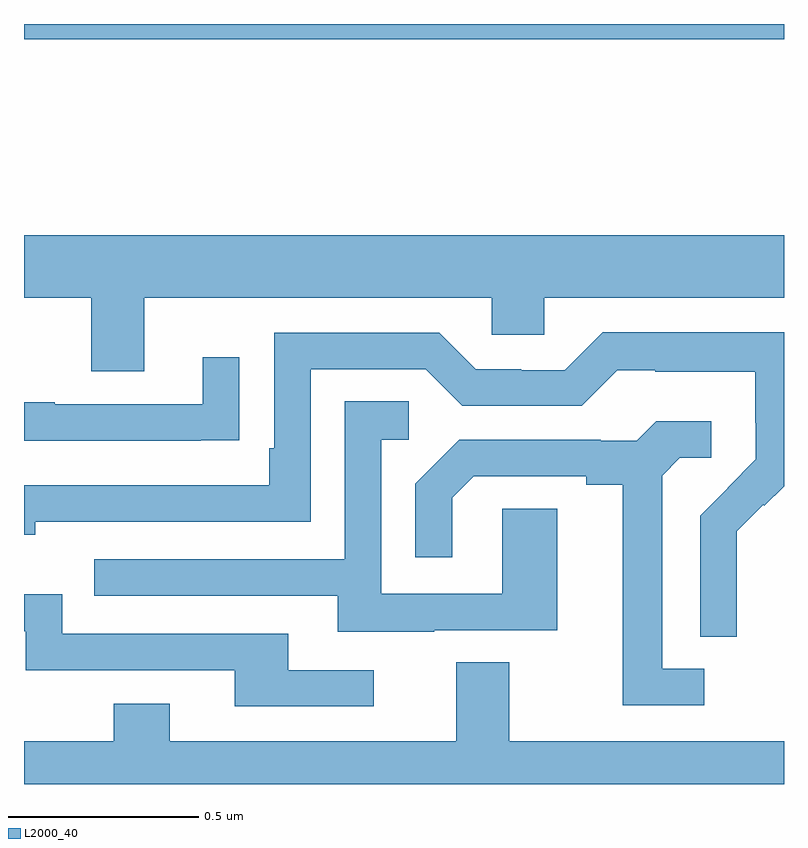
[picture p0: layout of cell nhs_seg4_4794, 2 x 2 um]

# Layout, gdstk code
import gdstk
lib = gdstk.Library(unit=1e-6, precision=1e-09)
def R(c, l, rs):  # rectangles x0, y0, x1, y1
    for r in rs: c.add(gdstk.rectangle(r[:2], r[2:], *l))
def P(c, l, *ps):  # polygons
    for p in ps: c.add(gdstk.Polygon(p, *l))
L2000_40 = (2000, 40)

nhs_seg4_4794 = lib.new_cell('nhs_seg4_4794')
R(nhs_seg4_4794, L2000_40, [(170,770.86,172,770.9)])
P(nhs_seg4_4794, L2000_40, [(170.317,770.18),(171.231,770.18),(171.231,770.082),(171.369,770.082),(171.369,770.18),(172,770.18),(172,770.344),(170,770.344),(170,770.18),(170.177,770.18),(170.177,769.986),(170.317,769.986)],
  [(171.876,769.442),(171.875,769.442),(171.875,769.565),(171.945,769.635),(171.948,769.632),(172,769.684),(172,770.089),(171.523,770.089),(171.423,769.989),(171.308,769.989),(171.308,769.992),(171.189,769.992),(171.093,770.088),(170.658,770.088),(170.658,769.783),(170.645,769.783),(170.645,769.686),(170,769.686),(170,769.556),(170.03,769.556),(170.03,769.59),(170.754,769.59),(170.754,769.992),(171.057,769.992),(171.153,769.896),(171.468,769.896),(171.561,769.989),(171.661,769.989),(171.661,769.985),(171.924,769.985),(171.924,769.851),(171.926,769.851),(171.926,769.754),(171.852,769.68),(171.853,769.679),(171.78,769.606),(171.78,769.288),(171.876,769.288)],
  [(170.465,769.804),(170.567,769.804),(170.567,770.023),(170.471,770.023),(170.471,769.899),(170.081,769.899),(170.081,769.904),(170,769.904),(170,769.803),(170.465,769.803)],
  [(171.079,769.305),(171.403,769.305),(171.403,769.625),(171.258,769.625),(171.258,769.401),(170.94,769.401),(170.94,769.806),(171.013,769.806),(171.013,769.907),(170.844,769.907),(170.844,769.491),(170.185,769.491),(170.185,769.395),(170.825,769.395),(170.825,769.301),(171.079,769.301)],
  [(171.79,769.203),(171.679,769.203),(171.679,769.711),(171.726,769.758),(171.808,769.758),(171.808,769.855),(171.664,769.855),(171.612,769.803),(171.518,769.803),(171.518,769.806),(171.146,769.806),(171.03,769.69),(171.03,769.497),(171.127,769.497),(171.127,769.653),(171.184,769.71),(171.479,769.71),(171.479,769.688),(171.575,769.688),(171.575,769.107),(171.79,769.107)],
  [(170.92,769.2),(170.695,769.2),(170.695,769.296),(170.1,769.296),(170.1,769.399),(170,769.399),(170,769.302),(170.004,769.302),(170.004,769.2),(170.555,769.2),(170.555,769.104),(170.92,769.104)],
  [(172,769.012),(171.277,769.012),(171.277,769.22),(171.137,769.22),(171.137,769.012),(170.383,769.012),(170.383,769.111),(170.236,769.111),(170.236,769.012),(170,769.012),(170,768.9),(172,768.9)])

lib.write_gds('nhs_seg4_4794.gds')
